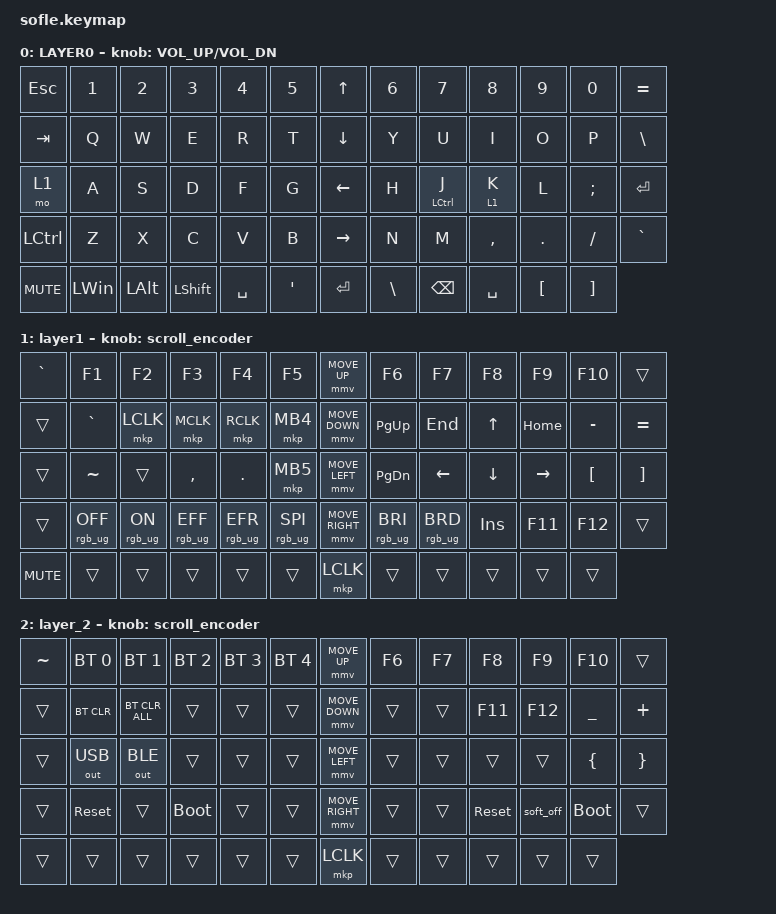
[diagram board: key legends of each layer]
#include <behaviors/mouse_keys.dtsi>
#include <dt-bindings/zmk/mouse.h>
#include <behaviors.dtsi>
#include <dt-bindings/zmk/bt.h>
#include <dt-bindings/zmk/keys.h>
#include <dt-bindings/zmk/outputs.h>
#include <dt-bindings/zmk/rgb.h>

#include "zmk-helpers/helper.h"

// Source desired key-position labels
#include "zmk-helpers/key-labels/glove80.h"

// Source unicode-chars for desired languages
#include "zmk-helpers/unicode-chars/german.dtsi"
#include "zmk-helpers/key-labels/36.h"                                      // Source key-labels.



#define ZMK_MOUSE_DEFAULT_MOVE_VAL 1200  // 600
#define U_MS_U &mmv MOVE_UP
#define U_MS_D &mmv MOVE_DOWN
#define U_MS_L &mmv MOVE_LEFT
#define U_MS_R &mmv MOVE_RIGHT
#define ZMK_MOUSE_DEFAULT_SCRL_VAL 20    // 10
#define KEYS_L LT0 LT1 LT2 LT3 LT4 LM0 LM1 LM2 LM3 LM4 LB0 LB1 LB2 LB3 LB4  // Left-hand keys.
#define KEYS_R RT0 RT1 RT2 RT3 RT4 RM0 RM1 RM2 RM3 RM4 RB0 RB1 RB2 RB3 RB4  // Right-hand keys.
#define THUMBS LH2 LH1 LH0 RH0 RH1 RH2        

ZMK_HOLD_TAP(hml,
    flavor = "tap-preferred";
    tapping-term-ms = <280>;
    quick-tap-ms = <175>;
    require-prior-idle-ms = <150>;
    bindings = <&kp>, <&kp>;
    hold-trigger-key-positions = <KEYS_R THUMBS>;
    hold-trigger-on-release;
)

ZMK_HOLD_TAP(hmr,
    flavor = "tap-preferred";
    tapping-term-ms = <280>;
    quick-tap-ms = <175>;
    require-prior-idle-ms = <150>;
    bindings = <&kp>, <&kp>;
    hold-trigger-key-positions = <KEYS_L THUMBS>;
    hold-trigger-on-release;
)

/ {
    behaviors {
        mmv {
            acceleration-exponent = <1>;      // 1
            time-to-max-speed-ms = <900>;    // 40
            delay-ms = <0>;                   // 0
        };

        msc {
            acceleration-exponent = <1>;      // 0
            time-to-max-speed-ms = <400>;      // 500
            delay-ms = <0>;                   //   10
        };
    };

    scroll_encoder: scroll_encoder {
        compatible = "zmk,behavior-sensor-rotate";
        #sensor-binding-cells = <0>;
        bindings = <&msc SCRL_DOWN>, <&msc SCRL_UP>;

        tap-ms = <30>;
    };

    combos {
        compatible = "zmk,combos";

        exclamation {
            bindings = <&kp EXCLAMATION>;
            key-positions = <14 27>;
        };
    };

    keymap {
        compatible = "zmk,keymap";

        layer0 {
            bindings = <
&kp ESC           &kp N1        &kp N2        &kp N3          &kp N4     &kp N5     &kp UP_ARROW     &kp N6         &kp N7              &kp N8     &kp N9            &kp N0             &kp EQUAL
&kp TAB           &kp Q         &kp W         &kp E           &kp R      &kp T      &kp DOWN_ARROW   &kp Y          &kp U               &kp I      &kp O             &kp P              &kp BSLH
&mo 1             &kp A         &kp S         &kp D           &kp F      &kp G      &kp LEFT_ARROW   &kp H          &mt LEFT_CONTROL J  &lt 1 K    &kp L             &kp SEMI           &kp RETURN
&kp LEFT_CONTROL  &kp Z         &kp X         &kp C           &kp V      &kp B      &kp RIGHT_ARROW  &kp N          &kp M               &kp COMMA  &kp DOT           &kp FSLH           &kp GRAVE
&kp C_MUTE        &kp LEFT_WIN  &kp LEFT_ALT  &kp LEFT_SHIFT  &kp SPACE  &kp SQT    &kp ENTER        &kp BACKSLASH  &kp BACKSPACE       &kp SPACE  &kp LEFT_BRACKET  &kp RIGHT_BRACKET
            >;

            sensor-bindings = <&inc_dec_kp K_VOLUME_UP C_VOL_DN>;
            display-name = "LAYER0";
        };

        layer_1 {
            bindings = <
&kp GRAVE   &kp F1           &kp F2          &kp F3           &kp F4           &kp F5             &mmv MOVE_UP     &kp F6           &kp F7           &kp F8      &kp F9     &kp F10           &trans
&trans      &kp GRAVE        &mkp LCLK       &mkp MCLK        &mkp RCLK        &mkp MB4           &mmv MOVE_DOWN   &kp PG_UP        &kp END          &kp UP      &kp HOME   &kp MINUS         &kp EQUAL
&trans      &kp TILDE        &trans          &kp COMMA        &kp PERIOD       &mkp MB5           &mmv MOVE_LEFT   &kp PG_DN        &kp LEFT         &kp DOWN    &kp RIGHT  &kp LEFT_BRACKET  &kp RIGHT_BRACKET
&trans      &rgb_ug RGB_OFF  &rgb_ug RGB_ON  &rgb_ug RGB_EFF  &rgb_ug RGB_EFR  &rgb_ug RGB_SPI    &mmv MOVE_RIGHT  &rgb_ug RGB_BRI  &rgb_ug RGB_BRD  &kp INSERT  &kp F11    &kp F12           &trans
&kp C_MUTE  &trans           &trans          &trans           &trans           &trans             &mkp LCLK        &trans           &trans           &trans      &trans     &trans
            >;

            display-name = "layer1";
            sensor-bindings = <&scroll_encoder>;
        };

        layer_2 {
            bindings = <
&kp TILDE  &bt BT_SEL 0  &bt BT_SEL 1    &bt BT_SEL 2  &bt BT_SEL 3  &bt BT_SEL 4    &mmv MOVE_UP     &kp F6  &kp F7  &kp F8      &kp F9     &kp F10      &trans
&trans     &bt BT_CLR    &bt BT_CLR_ALL  &trans        &trans        &trans          &mmv MOVE_DOWN   &trans  &trans  &kp F11     &kp F12    &kp UNDER    &kp PLUS
&trans     &out OUT_USB  &out OUT_BLE    &trans        &trans        &trans          &mmv MOVE_LEFT   &trans  &trans  &trans      &trans     &kp LBRC     &kp RBRC
&trans     &sys_reset    &trans          &bootloader   &trans        &trans          &mmv MOVE_RIGHT  &trans  &trans  &sys_reset  &soft_off  &bootloader  &trans
&trans     &trans        &trans          &trans        &trans        &trans          &mkp LCLK        &trans  &trans  &trans      &trans     &trans
            >;

            sensor-bindings = <&scroll_encoder>;
        };
    };
};
